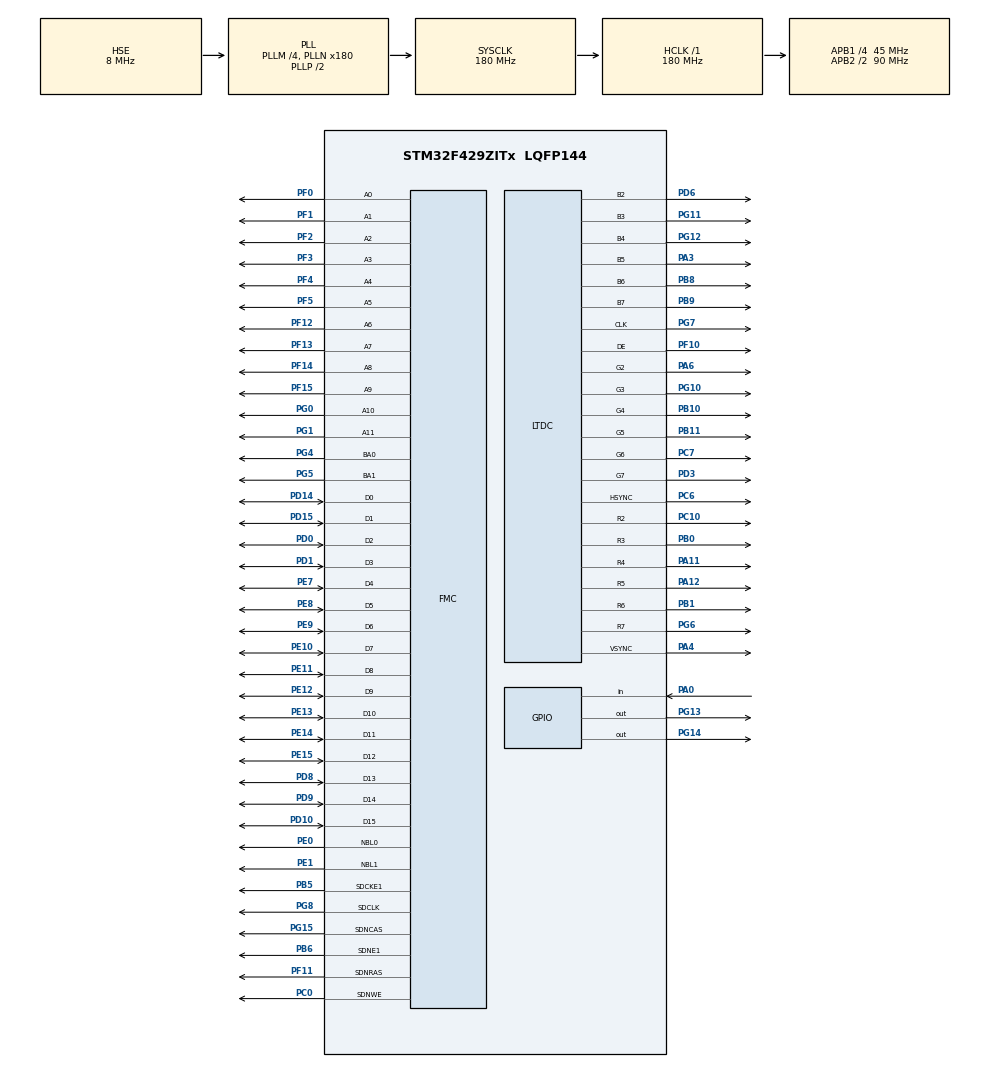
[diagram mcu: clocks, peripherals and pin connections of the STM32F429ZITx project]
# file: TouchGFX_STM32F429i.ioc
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SH.FMC_D7_DA7.0=FMC_D7,sd-16b-d1
FMC.SDClockPeriod2=FMC_SDRAM_CLOCK_PERIOD_3
FMC.RCDDelay1=2
FMC.SDClockPeriod1=FMC_SDRAM_CLOCK_PERIOD_3
SH.FMC_A0.0=FMC_A0,12b-sda1
PB10.Mode=RGB666
PG4.Signal=FMC_A14_BA0
PG8.Signal=FMC_SDCLK
PG0.Signal=FMC_A10
FMC.LoadToActiveDelay1=2
SH.FMC_D5_DA5.0=FMC_D5,sd-16b-d1
VP_STMicroelectronics.X-CUBE-TOUCHGFX_VS_GraphicsJjApplication_4.16.0.Mode=GraphicsJjApplication
PG6.Mode=RGB666
PG13.Signal=GPIO_Output
RCC.SYSCLKSource=RCC_SYSCLKSOURCE_PLLCLK
SH.FMC_A15_BA1.0=FMC_BA1,FourSdramBanks1
SH.FMC_D9_DA9.0=FMC_D9,sd-16b-d1
FREERTOS.configENABLE_FPU=1
PA4.Mode=RGB666
SH.FMC_SDNWE.0=FMC_SDNWE,12b-sda1
SH.FMC_D11_DA11.0=FMC_D11,sd-16b-d1
RCC.APB2TimFreq_Value=180000000
PB6.Signal=FMC_SDNE1
PC7.Signal=LTDC_G6
PH1/OSC_OUT.Signal=RCC_OSC_OUT
PB6.Mode=SdramChipSelect2_1
PD0.Signal=FMC_D2_DA2
PD8.Signal=FMC_D13_DA13
PE1.Signal=FMC_NBL1
NVIC.FMC_IRQn=true\:5\:0\:false\:false\:true\:true\:true\:true
FMC.SelfRefreshTime1=4
LTDC.PixelFormat_L0=LTDC_PIXEL_FORMAT_RGB565
PE9.Signal=FMC_D6_DA6
SH.FMC_A2.0=FMC_A2,12b-sda1
SH.FMC_D1_DA1.0=FMC_D1,sd-16b-d1
PF3.Signal=FMC_A3
VP_FREERTOS_VS_CMSIS_V1.Mode=CMSIS_V1
PD3.Mode=RGB666
PE10.Signal=FMC_D7_DA7
LTDC.HSync=10
Mcu.Package=LQFP144
PB9.Signal=LTDC_B7
PB1.Signal=LTDC_R6
NVIC.TimeBase=TIM1_UP_TIM10_IRQn
NVIC.TimeBaseIP=TIM1
FMC.WriteRecoveryTime1=3
SH.FMC_A1.0=FMC_A1,12b-sda1
RCC.APB2CLKDivider=RCC_HCLK_DIV2
SH.FMC_SDCLK.0=FMC_SDCLK,12b-sda1
LTDC.VSync=2
PF14.Signal=FMC_A8
RCC.APB1TimFreq_Value=90000000
FMC.RowCycleDelay2=7
PF10.Mode=RGB666
FMC.RowCycleDelay1=7
PD15.Signal=FMC_D1_DA1
SH.FMC_D3_DA3.0=FMC_D3,sd-16b-d1
PG12.Signal=LTDC_B4
SH.FMC_A4.0=FMC_A4,12b-sda1
FREERTOS.Tasks01=defaultTask,0,128,StartDefaultTask,Default,NULL,Dynamic,NULL,NULL;touchGfxTask,0,4096,StartTGFX_Task,Default,NULL,Dynamic,NULL,NULL
PG5.Signal=FMC_A15_BA1
SH.FMC_D10_DA10.0=FMC_D10,sd-16b-d1
PD3.Signal=LTDC_G7
PC6.Signal=LTDC_HSYNC
PD1.Signal=FMC_D3_DA3
STMicroelectronics.X-CUBE-TOUCHGFX.4.16.0.tgfx_buffering_strategy=Double
PC0.Signal=FMC_SDNWE
RCC.APB1CLKDivider=RCC_HCLK_DIV4
PD6.Mode=RGB666
PG10.Signal=LTDC_G3
LTDC.ImageWidth_L0=240
PD10.Signal=FMC_D15_DA15
PA3.Mode=RGB666
SH.FMC_A3.0=FMC_A3,12b-sda1
FMC.CASLatency1=FMC_SDRAM_CAS_LATENCY_3
PB11.Mode=RGB666
SH.FMC_D15_DA15.0=FMC_D15,sd-16b-d1
PC6.Mode=RGB666
PB10.Signal=LTDC_G4
SH.FMC_A6.0=FMC_A6,12b-sda1
PE14.Signal=FMC_D11_DA11
PE15.Signal=FMC_D12_DA12
STMicroelectronics.X-CUBE-TOUCHGFX.4.16.0.tgfx_datareader=Disabled
PE8.Signal=FMC_D5_DA5
PF13.Signal=FMC_A7
SH.FMC_SDNCAS.0=FMC_SDNCAS,12b-sda1
PA4.Signal=LTDC_VSYNC
PB5.Signal=FMC_SDCKE1
SH.FMC_A5.0=FMC_A5,12b-sda1
PG11.Mode=RGB666
LTDC.Alpha_L0=255
PA11.Signal=LTDC_R4
ProjectManager.HeapSize=0x200
PB1.Mode=RGB666
NVIC.TIM1_UP_TIM10_IRQn=true\:0\:0\:false\:false\:true\:false\:false\:true
STMicroelectronics.X-CUBE-TOUCHGFX.4.16.0.tgfx_vsync=vsync_ltdc
NVIC.PriorityGroup=NVIC_PRIORITYGROUP_4
PB8.Mode=RGB666
PF4.Signal=FMC_A4
PB0.Signal=LTDC_R3
Mcu.Family=STM32F4
LTDC.BlendingFactor1_L0=LTDC_BLENDING_FACTOR1_PAxCA
PA6.Mode=RGB666
SH.FMC_A8.0=FMC_A8,12b-sda1
RCC.CortexFreq_Value=180000000
PG6.Signal=LTDC_R7
RCC.PLLSAIDivR=RCC_PLLSAIDIVR_4
SH.FMC_D14_DA14.0=FMC_D14,sd-16b-d1
LTDC.HBP=20
PC10.Signal=LTDC_R2
SH.FMC_NBL0.0=FMC_NBL0,Sd2ByteEnable1
SH.FMC_D6_DA6.0=FMC_D6,sd-16b-d1
PA11.Mode=RGB666
PA0/WKUP.Signal=GPIO_Input
SH.FMC_A14_BA0.0=FMC_BA0,FourSdramBanks1
SH.FMC_A11.0=FMC_A11,12b-sda1
PB11.Signal=LTDC_G5
PG11.Signal=LTDC_B3
PG15.Signal=FMC_SDNCAS
ProjectManager.StackSize=0x400
SH.FMC_A7.0=FMC_A7,12b-sda1
PA12.Signal=LTDC_R5
STMicroelectronics.X-CUBE-TOUCHGFX.4.16.0.tgfx_location=By Address
PH0/OSC_IN.Mode=HSE-External-Oscillator
RCC.HCLKFreq_Value=180000000
STMicroelectronics.X-CUBE-TOUCHGFX.4.16.0.tgfx_oswrapper=CMSIS V1
SH.FMC_NBL1.0=FMC_NBL1,Sd2ByteEnable1
LTDC.WindowX1_L0=240
PF12.Signal=FMC_A6
SH.FMC_A10.0=FMC_A10,12b-sda1
RCC.AHBFreq_Value=180000000
RCC.HSE_VALUE=8000000
STMicroelectronics.X-CUBE-TOUCHGFX.4.16.0.tgfx_display_interface=disp_ltdc
SH.FMC_D8_DA8.0=FMC_D8,sd-16b-d1
FMC.ExitSelfRefreshDelay1=7
FMC.RPDelay2=2
FMC.RPDelay1=2
SH.FMC_D2_DA2.0=FMC_D2,sd-16b-d1
PE13.Signal=FMC_D10_DA10
VP_SYS_VS_tim1.Mode=TIM1
PF11.Signal=FMC_SDNRAS
PB5.Mode=SdramChipSelect2_1
LTDC.HFP=10
LTDC.BlendingFactor2_L0=LTDC_BLENDING_FACTOR2_PAxCA
FMC.ReadPipeDelay1=FMC_SDRAM_RPIPE_DELAY_1
FMC.ReadPipeDelay2=FMC_SDRAM_RPIPE_DELAY_1
SH.FMC_SDNRAS.0=FMC_SDNRAS,12b-sda1
LTDC.ActiveW=240
PH1/OSC_OUT.Mode=HSE-External-Oscillator
FREERTOS.configTOTAL_HEAP_SIZE=32768
STMicroelectronics.X-CUBE-TOUCHGFX.4.16.0.tgfx_address1=0xD0000000
STMicroelectronics.X-CUBE-TOUCHGFX.4.16.0.tgfx_address2=0xD0028000
PA6.Signal=LTDC_G2
SH.FMC_D0_DA0.0=FMC_D0,sd-16b-d1
NVIC.LTDC_ER_IRQn=true\:5\:0\:false\:false\:true\:true\:true\:true
SH.FMC_A9.0=FMC_A9,12b-sda1
SH.FMC_D4_DA4.0=FMC_D4,sd-16b-d1
RCC.PLLSAIN=66
PF5.Signal=FMC_A5
RCC.PLLSAIR=6
PF0.Signal=FMC_A0
PE7.Signal=FMC_D4_DA4
PD6.Signal=LTDC_B2
PA3.Signal=LTDC_B5
RCC.PLLSourceVirtual=RCC_PLLSOURCE_HSE
NVIC.LTDC_IRQn=true\:5\:0\:false\:false\:true\:true\:true\:true
LTDC.VFP=4
LTDC.WindowY1_L0=320
PG7.Signal=LTDC_CLK
PG1.Signal=FMC_A11
PC10.Mode=RGB666
PG10.Mode=RGB666
PD9.Signal=FMC_D14_DA14
ProjectManager.TargetToolchain=STM32CubeIDE
SH.FMC_D13_DA13.0=FMC_D13,sd-16b-d1
LTDC.ActiveH=320
PB9.Mode=RGB666
PF2.Signal=FMC_A2
STMicroelectronics.X-CUBE-TOUCHGFX.4.16.0.ApplicationCcGraphicsJjApplication=TouchGFXOoGenerator
PE11.Signal=FMC_D8_DA8
PG7.Mode=RGB666
RCC.LSE_VALUE=32768
PG14.Signal=GPIO_Output
PB0.Mode=RGB666
board=custom
PG12.Mode=RGB666
RCC.VCOOutputFreq_Value=360000000
PH0/OSC_IN.Signal=RCC_OSC_IN
RCC.APB2Freq_Value=90000000
LTDC.Layers=0
PF10.Signal=LTDC_DE
SH.FMC_D12_DA12.0=FMC_D12,sd-16b-d1
PF15.Signal=FMC_A9
PF1.Signal=FMC_A1
Mcu.Name=STM32F429ZITx
PE0.Signal=FMC_NBL0
PE12.Signal=FMC_D9_DA9
PD14.Signal=FMC_D0_DA0
RCC.48MHZClocksFreq_Value=90000000
RCC.SYSCLKFreq_VALUE=180000000
PA12.Mode=RGB666
RCC.HSI_VALUE=16000000
RCC.PLLM=4
RCC.PLLN=180
PB8.Signal=LTDC_B6
PC7.Mode=RGB666
RCC.APB1Freq_Value=45000000
VP_CRC_VS_CRC.Mode=CRC_Activate
LTDC.ImageHeight_L0=320

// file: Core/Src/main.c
/* USER CODE BEGIN Header */
/**
  ******************************************************************************
  * @file           : main.c
  * @brief          : Main program body
  ******************************************************************************
  * @attention
  *
  * <h2><center>&copy; Copyright (c) 2021 STMicroelectronics.
  * All rights reserved.</center></h2>
  *
  * This software component is licensed by ST under Ultimate Liberty license
  * SLA0044, the "License"; You may not use this file except in compliance with
  * the License. You may obtain a copy of the License at:
  *                             www.st.com/SLA0044
  *
  ******************************************************************************
  */
/* USER CODE END Header */
#include "main.h"
#include "cmsis_os.h"
#include "app_touchgfx.h"

/* USER CODE BEGIN Includes */
#include "Driver_9341.h"
/* USER CODE END Includes */

CRC_HandleTypeDef hcrc;

LTDC_HandleTypeDef hltdc;

SDRAM_HandleTypeDef hsdram1;

osThreadId defaultTaskHandle;
osThreadId touchGfxTaskHandle;
/* USER CODE BEGIN PV */
FMC_SDRAM_CommandTypeDef command;
/* USER CODE END PV */

void SystemClock_Config(void);
static void MX_GPIO_Init(void);
static void MX_FMC_Init(void);
static void MX_LTDC_Init(void);
static void MX_CRC_Init(void);
void StartDefaultTask(void const * argument);
void StartTGFX_Task(void const * argument);

/* USER CODE BEGIN PFP */
static void SDRAM_Initialization_Sequence(SDRAM_HandleTypeDef *hsdram, FMC_SDRAM_CommandTypeDef *Command);
/* USER CODE END PFP */

int main(void)
{

  /* MCU Configuration--------------------------------------------------------*/

  /* Reset of all peripherals, Initializes the Flash interface and the Systick. */
  HAL_Init();

  /* Configure the system clock */
  SystemClock_Config();

  /* Initialize all configured peripherals */
  MX_GPIO_Init();
  MX_FMC_Init();
  MX_LTDC_Init();
  MX_CRC_Init();
  MX_TouchGFX_Init();

  /* Create the thread(s) */
  /* definition and creation of defaultTask */
  osThreadDef(defaultTask, StartDefaultTask, osPriorityNormal, 0, 128);
  defaultTaskHandle = osThreadCreate(osThread(defaultTask), NULL);

  /* definition and creation of touchGfxTask */
  osThreadDef(touchGfxTask, StartTGFX_Task, osPriorityNormal, 0, 4096);
  touchGfxTaskHandle = osThreadCreate(osThread(touchGfxTask), NULL);

  /* Start scheduler */
  osKernelStart();

  /* We should never get here as control is now taken by the scheduler */
  /* Infinite loop */
  while (1)
  {

  }
}

void SystemClock_Config(void)
{
  RCC_OscInitTypeDef RCC_OscInitStruct = {0};
  RCC_ClkInitTypeDef RCC_ClkInitStruct = {0};
  RCC_PeriphCLKInitTypeDef PeriphClkInitStruct = {0};

  /** Configure the main internal regulator output voltage
  */
  __HAL_RCC_PWR_CLK_ENABLE();
  __HAL_PWR_VOLTAGESCALING_CONFIG(PWR_REGULATOR_VOLTAGE_SCALE1);
  /** Initializes the RCC Oscillators according to the specified parameters
  * in the RCC_OscInitTypeDef structure.
  */
  RCC_OscInitStruct.OscillatorType = RCC_OSCILLATORTYPE_HSE;
  RCC_OscInitStruct.HSEState = RCC_HSE_ON;
  RCC_OscInitStruct.PLL.PLLState = RCC_PLL_ON;
  RCC_OscInitStruct.PLL.PLLSource = RCC_PLLSOURCE_HSE;
  RCC_OscInitStruct.PLL.PLLM = 4;
  RCC_OscInitStruct.PLL.PLLN = 180;
  RCC_OscInitStruct.PLL.PLLP = RCC_PLLP_DIV2;
  RCC_OscInitStruct.PLL.PLLQ = 4;
  if (HAL_RCC_OscConfig(&RCC_OscInitStruct) != HAL_OK)
  {
    Error_Handler();
  }
  /** Activate the Over-Drive mode
  */
  if (HAL_PWREx_EnableOverDrive() != HAL_OK)
  {
    Error_Handler();
  }
  /** Initializes the CPU, AHB and APB buses clocks
  */
  RCC_ClkInitStruct.ClockType = RCC_CLOCKTYPE_HCLK|RCC_CLOCKTYPE_SYSCLK
                              |RCC_CLOCKTYPE_PCLK1|RCC_CLOCKTYPE_PCLK2;
  RCC_ClkInitStruct.SYSCLKSource = RCC_SYSCLKSOURCE_PLLCLK;
  RCC_ClkInitStruct.AHBCLKDivider = RCC_SYSCLK_DIV1;
  RCC_ClkInitStruct.APB1CLKDivider = RCC_HCLK_DIV4;
  RCC_ClkInitStruct.APB2CLKDivider = RCC_HCLK_DIV2;

  if (HAL_RCC_ClockConfig(&RCC_ClkInitStruct, FLASH_LATENCY_5) != HAL_OK)
  {
    Error_Handler();
  }
  PeriphClkInitStruct.PeriphClockSelection = RCC_PERIPHCLK_LTDC;
  PeriphClkInitStruct.PLLSAI.PLLSAIN = 66;
  PeriphClkInitStruct.PLLSAI.PLLSAIR = 6;
  PeriphClkInitStruct.PLLSAIDivR = RCC_PLLSAIDIVR_4;
  if (HAL_RCCEx_PeriphCLKConfig(&PeriphClkInitStruct) != HAL_OK)
  {
    Error_Handler();
  }
}

static void MX_CRC_Init(void)
{

  hcrc.Instance = CRC;
  if (HAL_CRC_Init(&hcrc) != HAL_OK)
  {
    Error_Handler();
  }

}

static void MX_LTDC_Init(void)
{

  /* USER CODE BEGIN LTDC_Init 0 */
	ili9341_Init();
  /* USER CODE END LTDC_Init 0 */

  LTDC_LayerCfgTypeDef pLayerCfg = {0};

  hltdc.Instance = LTDC;
  hltdc.Init.HSPolarity = LTDC_HSPOLARITY_AL;
  hltdc.Init.VSPolarity = LTDC_VSPOLARITY_AL;
  hltdc.Init.DEPolarity = LTDC_DEPOLARITY_AL;
  hltdc.Init.PCPolarity = LTDC_PCPOLARITY_IPC;
  hltdc.Init.HorizontalSync = 9;
  hltdc.Init.VerticalSync = 1;
  hltdc.Init.AccumulatedHBP = 29;
  hltdc.Init.AccumulatedVBP = 3;
  hltdc.Init.AccumulatedActiveW = 269;
  hltdc.Init.AccumulatedActiveH = 323;
  hltdc.Init.TotalWidth = 279;
  hltdc.Init.TotalHeigh = 327;
  hltdc.Init.Backcolor.Blue = 0;
  hltdc.Init.Backcolor.Green = 0;
  hltdc.Init.Backcolor.Red = 0;
  if (HAL_LTDC_Init(&hltdc) != HAL_OK)
  {
    Error_Handler();
  }
  pLayerCfg.WindowX0 = 0;
  pLayerCfg.WindowX1 = 240;
  pLayerCfg.WindowY0 = 0;
  pLayerCfg.WindowY1 = 320;
  pLayerCfg.PixelFormat = LTDC_PIXEL_FORMAT_RGB565;
  pLayerCfg.Alpha = 255;
  pLayerCfg.Alpha0 = 0;
  pLayerCfg.BlendingFactor1 = LTDC_BLENDING_FACTOR1_PAxCA;
  pLayerCfg.BlendingFactor2 = LTDC_BLENDING_FACTOR2_PAxCA;
  pLayerCfg.FBStartAdress = 0;
  pLayerCfg.ImageWidth = 240;
  pLayerCfg.ImageHeight = 320;
  pLayerCfg.Backcolor.Blue = 0;
  pLayerCfg.Backcolor.Green = 0;
  pLayerCfg.Backcolor.Red = 0;
  if (HAL_LTDC_ConfigLayer(&hltdc, &pLayerCfg, 0) != HAL_OK)
  {
    Error_Handler();
  }

}

/* FMC initialization function */
static void MX_FMC_Init(void)
{

  FMC_SDRAM_TimingTypeDef SdramTiming = {0};

  /** Perform the SDRAM1 memory initialization sequence
  */
  hsdram1.Instance = FMC_SDRAM_DEVICE;
  /* hsdram1.Init */
  hsdram1.Init.SDBank = FMC_SDRAM_BANK2;
  hsdram1.Init.ColumnBitsNumber = FMC_SDRAM_COLUMN_BITS_NUM_8;
  hsdram1.Init.RowBitsNumber = FMC_SDRAM_ROW_BITS_NUM_12;
  hsdram1.Init.MemoryDataWidth = FMC_SDRAM_MEM_BUS_WIDTH_16;
  hsdram1.Init.InternalBankNumber = FMC_SDRAM_INTERN_BANKS_NUM_4;
  hsdram1.Init.CASLatency = FMC_SDRAM_CAS_LATENCY_3;
  hsdram1.Init.WriteProtection = FMC_SDRAM_WRITE_PROTECTION_DISABLE;
  hsdram1.Init.SDClockPeriod = FMC_SDRAM_CLOCK_PERIOD_3;
  hsdram1.Init.ReadBurst = FMC_SDRAM_RBURST_DISABLE;
  hsdram1.Init.ReadPipeDelay = FMC_SDRAM_RPIPE_DELAY_1;
  /* SdramTiming */
  SdramTiming.LoadToActiveDelay = 2;
  SdramTiming.ExitSelfRefreshDelay = 7;
  SdramTiming.SelfRefreshTime = 4;
  SdramTiming.RowCycleDelay = 7;
  SdramTiming.WriteRecoveryTime = 3;
  SdramTiming.RPDelay = 2;
  SdramTiming.RCDDelay = 2;

  if (HAL_SDRAM_Init(&hsdram1, &SdramTiming) != HAL_OK)
  {
    Error_Handler( );
  }

  /* USER CODE BEGIN FMC_Init 2 */
  SDRAM_Initialization_Sequence(&hsdram1,&command);
  /* USER CODE END FMC_Init 2 */
}

static void MX_GPIO_Init(void)
{
  GPIO_InitTypeDef GPIO_InitStruct = {0};

  /* GPIO Ports Clock Enable */
  __HAL_RCC_GPIOF_CLK_ENABLE();
  __HAL_RCC_GPIOH_CLK_ENABLE();
  __HAL_RCC_GPIOC_CLK_ENABLE();
  __HAL_RCC_GPIOA_CLK_ENABLE();
  __HAL_RCC_GPIOB_CLK_ENABLE();
  __HAL_RCC_GPIOG_CLK_ENABLE();
  __HAL_RCC_GPIOE_CLK_ENABLE();
  __HAL_RCC_GPIOD_CLK_ENABLE();

  /*Configure GPIO pin Output Level */
  HAL_GPIO_WritePin(GPIOG, GPIO_PIN_13|GPIO_PIN_14, GPIO_PIN_RESET);

  /*Configure GPIO pin : PA0 */
  GPIO_InitStruct.Pin = GPIO_PIN_0;
  GPIO_InitStruct.Mode = GPIO_MODE_INPUT;
  GPIO_InitStruct.Pull = GPIO_NOPULL;
  HAL_GPIO_Init(GPIOA, &GPIO_InitStruct);

  /*Configure GPIO pins : PG13 PG14 */
  GPIO_InitStruct.Pin = GPIO_PIN_13|GPIO_PIN_14;
  GPIO_InitStruct.Mode = GPIO_MODE_OUTPUT_PP;
  GPIO_InitStruct.Pull = GPIO_NOPULL;
  GPIO_InitStruct.Speed = GPIO_SPEED_FREQ_LOW;
  HAL_GPIO_Init(GPIOG, &GPIO_InitStruct);

}

/* USER CODE BEGIN 4 */
static void SDRAM_Initialization_Sequence(SDRAM_HandleTypeDef *hsdram, FMC_SDRAM_CommandTypeDef *Command)
{
  __IO uint32_t tmpmrd =0;
  /* Step 3:  Configure a clock configuration enable command */
  Command->CommandMode 			 = FMC_SDRAM_CMD_CLK_ENABLE;
  Command->CommandTarget 		 = FMC_SDRAM_CMD_TARGET_BANK2;
  Command->AutoRefreshNumber 	 = 1;
  Command->ModeRegisterDefinition = 0;

  /* Send the command */
  HAL_SDRAM_SendCommand(hsdram, Command, 0x1000);

  /* Step 4: Insert 100 ms delay */
  HAL_Delay(100);

  /* Step 5: Configure a PALL (precharge all) command */
  Command->CommandMode 			 = FMC_SDRAM_CMD_PALL;
  Command->CommandTarget 	     = FMC_SDRAM_CMD_TARGET_BANK2;
  Command->AutoRefreshNumber 	 = 1;
  Command->ModeRegisterDefinition = 0;

  /* Send the command */
  HAL_SDRAM_SendCommand(hsdram, Command, 0x1000);

  /* Step 6 : Configure a Auto-Refresh command */
  Command->CommandMode 			 = FMC_SDRAM_CMD_AUTOREFRESH_MODE;
  Command->CommandTarget 		 = FMC_SDRAM_CMD_TARGET_BANK2;
  Command->AutoRefreshNumber 	 = 4;
  Command->ModeRegisterDefinition = 0;

  /* Send the command */
  HAL_SDRAM_SendCommand(hsdram, Command, 0x1000);

  /* Step 7: Program the external memory mode register */
  tmpmrd = (uint32_t)SDRAM_MODEREG_BURST_LENGTH_2          |
                     SDRAM_MODEREG_BURST_TYPE_SEQUENTIAL   |
                     SDRAM_MODEREG_CAS_LATENCY_3           |
                     SDRAM_MODEREG_OPERATING_MODE_STANDARD |
                     SDRAM_MODEREG_WRITEBURST_MODE_SINGLE;

  Command->CommandMode = FMC_SDRAM_CMD_LOAD_MODE;
  Command->CommandTarget 		 = FMC_SDRAM_CMD_TARGET_BANK2;
  Command->AutoRefreshNumber 	 = 1;
  Command->ModeRegisterDefinition = tmpmrd;

  /* Send the command */
  HAL_SDRAM_SendCommand(hsdram, Command, 0x1000);

  /* Step 8: Set the refresh rate counter */
  /* (15.62 us x Freq) - 20 */
  /* Set the device refresh counter */
  HAL_SDRAM_ProgramRefreshRate(hsdram, REFRESH_COUNT);
}
/* USER CODE END 4 */

void StartDefaultTask(void const * argument)
{
  /* USER CODE BEGIN 5 */
  /* Infinite loop */
  for(;;)
  {
	bool bToggle;
	HAL_GPIO_TogglePin(GPIOG, ((bToggle) ? (GPIO_PIN_13) : (GPIO_PIN_14)));
	bToggle = !bToggle;
    osDelay(500);
  }
  /* USER CODE END 5 */
}

void StartTGFX_Task(void const * argument)
{
  /* USER CODE BEGIN StartTGFX_Task */
	MX_TouchGFX_Process();
  /* Infinite loop */
  for(;;)
  {
    osDelay(1);
  }
  /* USER CODE END StartTGFX_Task */
}

 /**
  * @brief  Period elapsed callback in non blocking mode
  * @note   This function is called  when TIM1 interrupt took place, inside
  * HAL_TIM_IRQHandler(). It makes a direct call to HAL_IncTick() to increment
  * a global variable "uwTick" used as application time base.
  * @param  htim : TIM handle
  * @retval None
  */
void HAL_TIM_PeriodElapsedCallback(TIM_HandleTypeDef *htim)
{
  if (htim->Instance == TIM1) {
    HAL_IncTick();
  }
}

void Error_Handler(void)
{
  __disable_irq();
  while (1)
  {
  }
}

/************************ (C) COPYRIGHT STMicroelectronics *****END OF FILE****/
